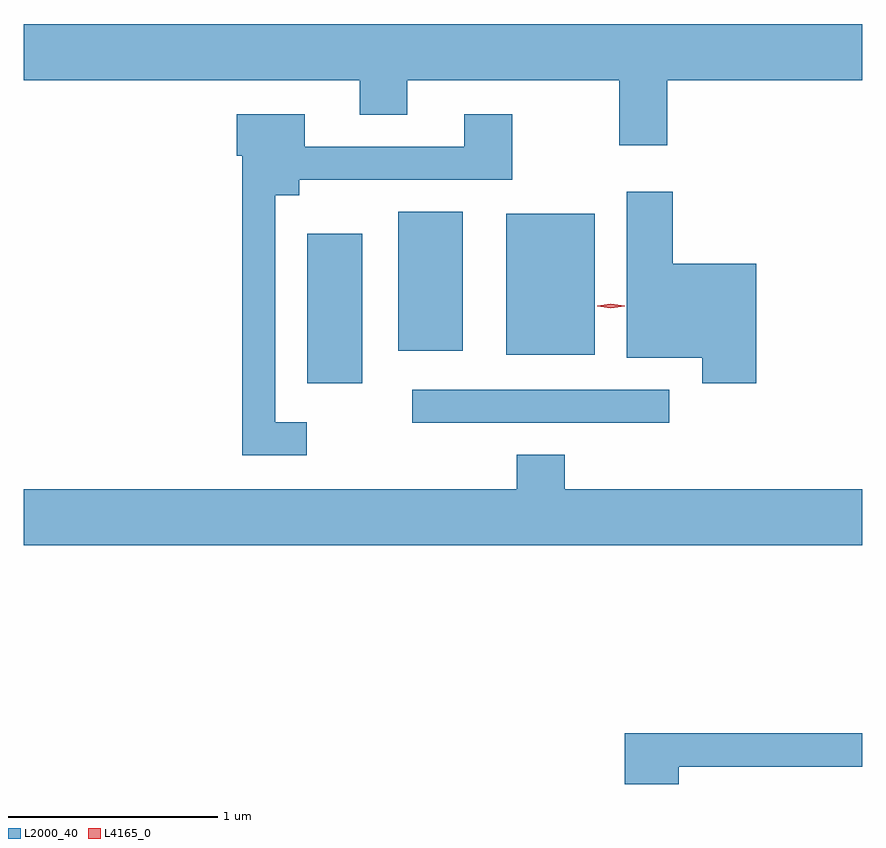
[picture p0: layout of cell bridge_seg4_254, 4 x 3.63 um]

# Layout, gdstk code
import gdstk
lib = gdstk.Library(unit=1e-6, precision=1e-09)
def R(c, l, rs):  # rectangles x0, y0, x1, y1
    for r in rs: c.add(gdstk.rectangle(r[:2], r[2:], *l))
def P(c, l, *ps):  # polygons
    for p in ps: c.add(gdstk.Polygon(p, *l))
L2000_40 = (2000, 40)
L4165_0 = (4165, 0)

bridge_seg4_254 = lib.new_cell('bridge_seg4_254')
R(bridge_seg4_254, L2000_40, [(678.973,1353.041,680.198,1353.199), (678.471,1353.231,678.734,1353.944), (679.421,1353.366,679.844,1354.039), (678.906,1353.386,679.214,1354.049)])
P(bridge_seg4_254, L2000_40, [(680.189,1354.676),(681.119,1354.676),(681.119,1354.944),(677.119,1354.944),(677.119,1354.676),(678.721,1354.676),(678.721,1354.511),(678.949,1354.511),(678.949,1354.676),(679.961,1354.676),(679.961,1354.366),(680.189,1354.366)],
  [(678.468,1353.044),(678.319,1353.044),(678.319,1354.126),(678.434,1354.126),(678.434,1354.201),(679.449,1354.201),(679.449,1354.514),(679.221,1354.514),(679.221,1354.359),(678.459,1354.359),(678.459,1354.514),(678.136,1354.514),(678.136,1354.316),(678.161,1354.316),(678.161,1352.886),(678.468,1352.886)],
  [(680.614,1353.799),(680.214,1353.799),(680.214,1354.144),(679.996,1354.144),(679.996,1353.351),(680.356,1353.351),(680.356,1353.231),(680.614,1353.231)],
  [(681.119,1352.724),(679.699,1352.724),(679.699,1352.889),(679.471,1352.889),(679.471,1352.724),(677.119,1352.724),(677.119,1352.456),(681.119,1352.456)],
  [(680.244,1351.401),(681.119,1351.401),(681.119,1351.559),(679.986,1351.559),(679.986,1351.318),(680.244,1351.318)])
P(bridge_seg4_254, L4165_0, [(679.92,1353.589),(679.854,1353.598),(679.854,1353.599),(679.854,1353.599),(679.92,1353.609),(679.986,1353.599),(679.987,1353.599),(679.986,1353.598)])

lib.write_gds('bridge_seg4_254.gds')
